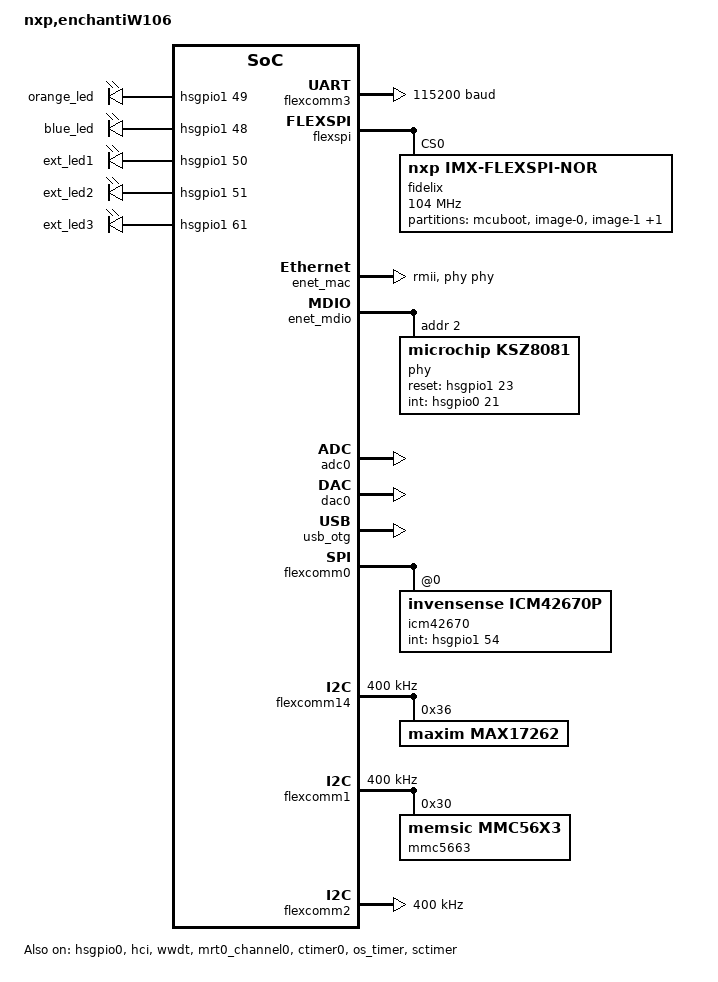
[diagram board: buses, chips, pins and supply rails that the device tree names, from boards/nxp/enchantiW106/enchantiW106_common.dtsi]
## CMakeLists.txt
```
# SPDX-License-Identifier: Apache-2.0

cmake_minimum_required(VERSION 3.20.0)

find_package(Zephyr REQUIRED HINTS $ENV{ZEPHYR_BASE})
project(simple_osc)

set(LIBDEPS_PATH "libdeps")

# Create variables for library dependents
set(LIBMAPPER_SOURCE_PATH ${LIBDEPS_PATH}/libmapper-nxp/src)
set(LIBMAPPER_INCLUDE_PATH ${LIBDEPS_PATH}/libmapper-nxp/src)

# Target repositories in libdeps sources
FILE(GLOB liblo_sources 
    ${LIBMAPPER_SOURCE_PATH}/lo/*.c
    ${LIBMAPPER_SOURCE_PATH}/compat/*.c
    ${LIBMAPPER_SOURCE_PATH}/zlib/*.c
)

# Target app sources
FILE(GLOB app_sources src/*.c*)

target_sources(app PRIVATE 
    ${liblo_sources}
    ${app_sources}
)

# add_executable(crc32 crc32.c)
target_include_directories(app PRIVATE ${LIBMAPPER_INCLUDE_PATH})
```

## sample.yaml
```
common:
  harness: net
  tags:
    - net
    - wifi
sample:
  description: Test OSC driver
  name: OSC sample app
tests:
  sample.net.wifi.nxp_wifi:
    extra_args:
      - CONFIG_NXP_WIFI_BUILD_ONLY_MODE=y
    platform_allow:
      - frdm_rw612
      - rd_rw612_bga
```

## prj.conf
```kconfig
# Project specific conf
CONFIG_CPP=y
CONFIG_GLIBCXX_LIBCPP=y
CONFIG_STD_CPP20=y
CONFIG_CPP_EXCEPTIONS=y
CONFIG_GPIO=y

# Taken from wifi shell example
CONFIG_EARLY_CONSOLE=y
CONFIG_NETWORKING=y
CONFIG_ENTROPY_DEVICE_RANDOM_GENERATOR=y
CONFIG_POSIX_API=y
CONFIG_THREAD_RUNTIME_STATS=y
CONFIG_THREAD_RUNTIME_STATS_USE_TIMING_FUNCTIONS=y
CONFIG_WIFI_NM_WPA_CTRL_RESP_TIMEOUT_S=5000

CONFIG_MAIN_STACK_SIZE=5200
CONFIG_SHELL_STACK_SIZE=5200
CONFIG_NET_TX_STACK_SIZE=2048
CONFIG_NET_RX_STACK_SIZE=2048

CONFIG_NET_PKT_RX_COUNT=10
CONFIG_NET_PKT_TX_COUNT=10
CONFIG_NET_BUF_RX_COUNT=20
CONFIG_NET_BUF_TX_COUNT=20
CONFIG_NET_MAX_CONTEXTS=10
CONFIG_NET_DHCPV4=y

CONFIG_NET_IPV4=y
CONFIG_NET_IPV6=n
CONFIG_NET_CONNECTION_MANAGER=y
CONFIG_NET_TCP=y

CONFIG_NET_LOG=y
CONFIG_INIT_STACKS=y

CONFIG_NET_SHELL=y

CONFIG_NET_STATISTICS=y
CONFIG_NET_PKT_TXTIME_STATS=y
CONFIG_NET_STATISTICS_PERIODIC_OUTPUT=n

CONFIG_WIFI=y
CONFIG_WIFI_LOG_LEVEL_ERR=y
CONFIG_NET_L2_WIFI_SHELL=y
# printing of scan results puts pressure on queues in new locking
# design in net_mgmt. So, use a higher timeout for a crowded
# environment.
CONFIG_NET_MGMT_EVENT_QUEUE_TIMEOUT=5000
CONFIG_NET_MGMT_EVENT_QUEUE_SIZE=16
```

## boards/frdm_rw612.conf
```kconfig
CONFIG_WIFI_NXP=y
CONFIG_NXP_RW610=y
CONFIG_NXP_WIFI_SHELL=y

#
# C Library
#
CONFIG_REQUIRES_FULL_LIBC=y
CONFIG_CBPRINTF_FP_SUPPORT=y

# # Setup timer with 1us resolution
# CONFIG_SYS_CLOCK_TICKS_PER_SEC=1000000

# log
CONFIG_WIFI_LOG_LEVEL_DBG=y
CONFIG_THREAD_LOCAL_STORAGE=y
CONFIG_ASSERT=y
CONFIG_ASSERT_LEVEL=2
CONFIG_LOG_MODE_IMMEDIATE=y
CONFIG_LOG_PRINTK=n

# os
CONFIG_THREAD_CUSTOM_DATA=y
CONFIG_EVENTS=y
CONFIG_SYS_HEAP_AUTO=y
CONFIG_HEAP_MEM_POOL_SIZE=122880
CONFIG_SCHED_MULTIQ=y
CONFIG_ZVFS_OPEN_MAX=30

# shell
CONFIG_SHELL_ARGC_MAX=48
CONFIG_WIFI_SHELL_MAX_AP_STA=8
CONFIG_WIFI_MGMT_AP_MAX_NUM_STA=8
CONFIG_SHELL_CMD_BUFF_SIZE=512

# net
CONFIG_NET_L2_ETHERNET=y
CONFIG_NET_DHCPV4_SERVER_ADDR_COUNT=32
CONFIG_NET_IPV4=y
CONFIG_NET_IPV6=y
CONFIG_ETH_MCUX=n
CONFIG_NET_ZPERF=y
CONFIG_NET_ZPERF_MAX_PACKET_SIZE=1500
CONFIG_NET_BUF_LOG=y
CONFIG_NET_PKT_RX_COUNT=60
CONFIG_NET_PKT_TX_COUNT=40
CONFIG_NET_BUF_RX_COUNT=60
CONFIG_NET_BUF_TX_COUNT=80
CONFIG_NET_BUF_DATA_SIZE=1744
CONFIG_NET_TC_TX_COUNT=1
CONFIG_NET_TC_RX_COUNT=1
CONFIG_NET_MGMT_EVENT_QUEUE_SIZE=20
CONFIG_NET_IF_MAX_IPV4_COUNT=2
CONFIG_NET_IF_MAX_IPV6_COUNT=2
CONFIG_DNS_RESOLVER=y
CONFIG_DNS_RESOLVER_MAX_SERVERS=2
CONFIG_NET_SOCKETS_POLL_MAX=14
CONFIG_NET_ZPERF_MAX_SESSIONS=6
CONFIG_NET_IPV4_FRAGMENT=y
CONFIG_NET_IPV4_FRAGMENT_MAX_COUNT=3
CONFIG_NET_IPV4_FRAGMENT_MAX_PKT=7
CONFIG_NET_IPV4_FRAGMENT_TIMEOUT=3
CONFIG_NET_IPV6_FRAGMENT=y
CONFIG_NET_IPV6_FRAGMENT_MAX_COUNT=3
CONFIG_NET_IPV6_FRAGMENT_MAX_PKT=8
CONFIG_NET_IPV6_FRAGMENT_TIMEOUT=3
CONFIG_NET_MAX_CONN=10
CONFIG_NET_DHCPV4_SERVER_ICMP_PROBE_TIMEOUT=100
CONFIG_ETH_DRIVER=n

# net threads priority
CONFIG_NET_TC_THREAD_PRIO_CUSTOM=y
CONFIG_NET_TC_THREAD_PREEMPTIVE=y
CONFIG_NET_TCP_WORKER_PRIO=-16
CONFIG_NET_TC_TX_THREAD_BASE_PRIO=3
CONFIG_NET_TC_RX_THREAD_BASE_PRIO=3
CONFIG_ZPERF_WORK_Q_THREAD_PRIORITY=3
CONFIG_NET_SOCKETS_SERVICE_THREAD_PRIO=3
CONFIG_NET_TC_SKIP_FOR_HIGH_PRIO=y
CONFIG_NET_CONTEXT_PRIORITY=y
CONFIG_NET_MGMT_THREAD_PRIO_CUSTOM=y
CONFIG_NET_MGMT_THREAD_PRIORITY=3

# power management
CONFIG_PM=y
CONFIG_PM_DEVICE=y
CONFIG_PM_LOG_LEVEL_OFF=y
CONFIG_PM_DEVICE_LOG_LEVEL_OFF=y
CONFIG_IDLE_STACK_SIZE=1024

# stack size
CONFIG_SHELL_STACK_SIZE=6144
CONFIG_SYSTEM_WORKQUEUE_STACK_SIZE=2048
CONFIG_NET_MGMT_EVENT_STACK_SIZE=4608
CONFIG_NET_TCP_WORKQ_STACK_SIZE=2048
CONFIG_MAIN_STACK_SIZE=12288
CONFIG_NET_SOCKETS_SERVICE_STACK_SIZE=4096

# optimization level
# refer to Kconfig.zephyr for Optimizations Level
CONFIG_SPEED_OPTIMIZATIONS=y
#CONFIG_SIZE_OPTIMIZATIONS=y
#CONFIG_DEBUG_OPTIMIZATIONS=y
#CONFIG_NO_OPTIMIZATIONS=y

# debug & stats
CONFIG_SYS_HEAP_VALIDATE=y
CONFIG_SYS_HEAP_RUNTIME_STATS=y
#CONFIG_NET_PKT_TXTIME_STATS=y
#CONFIG_NET_PKT_TXTIME_STATS_DETAIL=y
CONFIG_NET_STATISTICS_WIFI=y
CONFIG_NET_STATISTICS_USER_API=y
#CONFIG_NET_STATISTICS_PERIODIC_OUTPUT=y
#CONFIG_NET_BUF_POOL_USAGE=y
#CONFIG_NET_DEBUG_NET_PKT_ALLOC=y

# stack size for -O0
#CONFIG_SHELL_STACK_SIZE=8192
#CONFIG_NET_TCP_WORKQ_STACK_SIZE=4096
#CONFIG_NET_TX_STACK_SIZE=4096
#CONFIG_NET_RX_STACK_SIZE=4096
#CONFIG_SYSTEM_WORKQUEUE_STACK_SIZE=4096
#CONFIG_ZPERF_WORK_Q_STACK_SIZE=4096
#CONFIG_MAIN_STACK_SIZE=4096
#CONFIG_IDLE_STACK_SIZE=2048

# comment out for -O0
CONFIG_CODE_DATA_RELOCATION_SRAM=y
```

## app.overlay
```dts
/*
 * Copyright (c) 2025 Albert Niyonsenga
 *
 * SPDX-License-Identifier: Apache-2.0
 */

&enet_mac {
    nxp,unique-mac;
};
```

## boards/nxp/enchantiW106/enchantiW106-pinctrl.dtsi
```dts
/*
 * Copyright 2022-2024 NXP
 *
 * SPDX-License-Identifier: Apache-2.0
 */

#include <nxp/rw/RW612-pinctrl.h>

&pinctrl {
	pinmux_flexcomm3_usart: pinmux_flexcomm3_usart {
		group0 {
			pinmux = <IO_MUX_FC3_USART_DATA>;
			slew-rate = "normal";
		};
	};

	pinmux_enet: pinmux_enet {
		group0 {
			pinmux = <IO_MUX_ENET_CLK
				IO_MUX_ENET_RX
				IO_MUX_ENET_TX
				IO_MUX_GPIO21
				IO_MUX_GPIO55>;
			slew-rate = "fast";
		};
	};

	pinmux_mdio: pinmux_mdio {
		group0 {
			pinmux = <IO_MUX_ENET_MDIO>;
			slew-rate = "fast";
		};
	};

	pinmux_flexcomm1_i2c: pinmux_flexcomm1_i2c {
		group0 {
			pinmux = <IO_MUX_FC1_I2C_8_9>;
			slew-rate = "normal";
			bias-pull-up;
		};
	};

	pinmux_flexcomm2_i2c: pinmux_flexcomm2_i2c {
		group0 {
			pinmux = <IO_MUX_FC2_I2C_16_17>;
			slew-rate = "normal";
			bias-pull-up;
		};
	};

	pinmux_flexcomm14_i2c: pinmux_flexcomm14_i2c {
		group0 {
			pinmux = <IO_MUX_FC14_I2C_56_57>;
			slew-rate = "normal";
			bias-pull-up;
		};
	};

	pinmux_flexcomm0_spi: pinmux_flexcomm0_spi {
		group0 {
			pinmux = <IO_MUX_FC0_SPI_SS0>;
			slew-rate = "ultra";
		};
	};

	pinmux_pwm0: pinmux_pwm0 {
		group0 {
			pinmux = <IO_MUX_SCT_OUT_0>;
			slew-rate = "normal";
		};
	};
};
```

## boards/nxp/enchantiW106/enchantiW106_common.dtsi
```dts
/*
 * Copyright 2024 NXP
 *
 * SPDX-License-Identifier: Apache-2.0
 */

#include "enchantiW106-pinctrl.dtsi"

/ {
	model = "nxp,enchantiW106";

	aliases {
		led0 = &orange_led;
		led1 = &blue_led;
		watchdog0 = &wwdt;
		usart-0 = &flexcomm3;
		i2c1 = &arduino_i2c1;
		i2c2 = &arduino_i2c2;
		i2c3 = &arduino_i2c3;
		spi1 = &arduino_spi;
		pwm-0 = &sctimer;
	};

	chosen {
		zephyr,sram = &sram_data;
		zephyr,flash = &fidelix;
		zephyr,console = &flexcomm3;
		zephyr,shell-uart = &flexcomm3;
	};

	leds {
		compatible = "gpio-leds";
		orange_led: led_1 {
			gpios = <&hsgpio1 49 0>;
		};
		blue_led: led_2 {
			gpios = <&hsgpio1 48 0>;
		};
		ext_led1: led_3 {
			gpios = <&hsgpio1 50 0>;
		};
		ext_led2: led_4 {
			gpios = <&hsgpio1 51 0>;
		};
		ext_led3: led_5 {
			gpios = <&hsgpio1 61 0>;
		};
	};
};

&flexcomm3 {
	compatible = "nxp,lpc-usart";
	status = "okay";
	current-speed = <115200>;
	pinctrl-0 = <&pinmux_flexcomm3_usart>;
	pinctrl-names = "default";
};

&hsgpio0 {
	status = "okay";
};

&flexspi {
	status = "okay";
	ahb-bufferable;
	ahb-prefetch;
	ahb-cacheable;
	ahb-read-addr-opt;
	ahb-boundary = "1024";
	rx-clock-source = <1>;
	rx-clock-source-b = <1>;
	/* fidelix external flash */
	fidelix: fidelix@0 {
		compatible = "nxp,imx-flexspi-nor";
		reg = <0>;
		size = <DT_SIZE_M(64 * 8)>;
		status = "okay";
		erase-block-size = <4096>;
		write-block-size = <1>;
		spi-max-frequency = <104000000>;

		partitions {
			compatible = "fixed-partitions";
			#address-cells = <1>;
			#size-cells = <1>;

			boot_partition: partition@0 {
				label = "mcuboot";
				reg = <0x00000000 DT_SIZE_K(128)>;
			};
			/* The MCUBoot swap-move algorithm uses the last 2 sectors
			 * of the primary slot0 for swap status and move.
			 */
			slot0_partition: partition@20000 {
				label = "image-0";
				reg = <0x00020000 (DT_SIZE_M(3) + DT_SIZE_K(2 * 4))>;
			};
			slot1_partition: partition@323000 {
				label = "image-1";
				reg = <0x00323000 DT_SIZE_M(3)>;
			};
			storage_partition: partition@623000 {
				label = "storage";
				reg = <0x00623000 (DT_SIZE_M(58) - DT_SIZE_K(136))>;
			};
		};
	};
	aps6404l: aps6404l@2 {
			compatible = "nxp,imx-flexspi-aps6404l";
			/* APS6404L is 8MB, 64MBit pSRAM */
			size = <DT_SIZE_M(8 * 8)>;
			reg = <2>;
			spi-max-frequency = <109000000>;
			/* PSRAM cannot be enabled while board is in default XIP
			 * configuration, as it will conflict with flash chip.
			 */
			status = "disabled";
			cs-interval-unit = <1>;
			cs-interval = <2>;
			cs-hold-time = <3>;
			cs-setup-time = <3>;
			data-valid-time = <6>;
			column-space = <0>;
			ahb-write-wait-unit = <2>;
			ahb-write-wait-interval = <0>;
	};
};

&hci {
	status = "okay";
	wakeup-source;
};

&enet_mac {
	status = "okay";
	pinctrl-0 = <&pinmux_enet>;
	pinctrl-names = "default";
	phy-handle = <&phy>;
	zephyr,random-mac-address;
	phy-connection-type = "rmii";
};

&enet_mdio {
	status = "okay";
	pinctrl-0 = <&pinmux_mdio>;
	pinctrl-names = "default";
	phy: phy@2 {
		compatible = "microchip,ksz8081";
		reg = <2>;
		status = "okay";
		reset-gpios = <&hsgpio1 23 GPIO_ACTIVE_HIGH>;
		int-gpios = <&hsgpio0 21 GPIO_ACTIVE_HIGH>;
		microchip,interface-type = "rmii";
	};
};

&wwdt {
	status = "okay";
};

&dma0 {
	status = "okay";
};

&mrt0_channel0 {
	status = "okay";
};

&ctimer0 {
	status = "okay";
};

&pmu {
	reset-causes-en = <PMU_RESET_CM33_LOCKUP>,
			  <PMU_RESET_ITRC>,
			  <PMU_RESET_AP_RESET>;
};

/* OS Timer is the wakeup source for PM mode 2 */
&os_timer {
	status = "okay";
	wakeup-source;
};

&systick {
	status = "disabled";
};

&adc0 {
	status = "okay";
};

&dac0 {
	status = "okay";
};

&sctimer {
	status = "okay";
	pinctrl-0 = <&pinmux_pwm0>;
	pinctrl-names = "default";
};

zephyr_udc0: &usb_otg {
	status = "okay";
};

/*
 * Add IMU, magnetometer to targets for I2C/SPI interface
 */
arduino_spi: &flexcomm0 {
	compatible = "nxp,lpc-spi";
	pinctrl-0 = <&pinmux_flexcomm0_spi>;
	pinctrl-names = "default";
	status = "okay";
	#address-cells = <1>;
	#size-cells = <0>;

	icm42670@0 {
		compatible = "invensense,icm42670p";
		int-gpios = <&hsgpio1 54 GPIO_ACTIVE_HIGH>;
		accel-hz = <1600>;
		gyro-hz = <1600>;
		accel-fs = <8>;
		gyro-fs = <2000>;
	};
};

arduino_i2c1: &flexcomm14 {
	compatible = "nxp,lpc-i2c";
	status = "okay";
	clock-frequency = <I2C_BITRATE_FAST>;
	#address-cells = <1>;
	#size-cells = <0>;
	pinctrl-0 = <&pinmux_flexcomm14_i2c>;
	pinctrl-names = "default";

	max17262@36 {
		compatible = "maxim,max17262";
		reg = <0x36>;
		design-voltage = <4200>;
		desired-voltage = <4200>;
		desired-charging-current = <1100>;
		design-cap = <2000>;
		empty-voltage = <3000>;
		recovery-voltage = <3880>;
		charge-voltage = <4150>;
		status = "okay";
	};
};

arduino_i2c2: &flexcomm1 {
	compatible = "nxp,lpc-i2c";
	status = "okay";
	clock-frequency = <I2C_BITRATE_FAST>;
	#address-cells = <1>;
	#size-cells = <0>;
	pinctrl-0 = <&pinmux_flexcomm1_i2c>;
	pinctrl-names = "default";

	mmc5663@30 {
		compatible = "memsic,mmc56x3";
		reg = <0x30>;
		magn_odr = <250>;
		auto_sr = "true";
		status = "okay";
	};
};

arduino_i2c3: &flexcomm2 {
	compatible = "nxp,lpc-i2c";
	status = "okay";
	clock-frequency = <I2C_BITRATE_FAST>;
	#address-cells = <1>;
	#size-cells = <0>;
	pinctrl-0 = <&pinmux_flexcomm2_i2c>;
	pinctrl-names = "default";
};
```

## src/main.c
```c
/*
 * Copyright (c) 2023, Meta
 *
 * SPDX-License-Identifier: Apache-2.0
 */

/*
 * Copyright (c) 2024 Muhammad Haziq
 *
 * SPDX-License-Identifier: Apache-2.0
 */


#include <stdio.h>
#include <zephyr/kernel.h>
#include <zephyr/drivers/gpio.h>
#include <zephyr/net/net_if.h>
#include <zephyr/net/wifi_mgmt.h>
#include <zephyr/net/net_event.h>
#include <errno.h>

#include "ssid_config.h"
// #include <charconv>
#include <lo/lo.h>
#include <lo/lo_lowlevel.h>
#include <lo/lo_types.h>


static K_SEM_DEFINE(wifi_connected, 0, 1);
static K_SEM_DEFINE(ipv4_address_obtained, 0, 1);

static struct net_mgmt_event_callback wifi_cb;
static struct net_mgmt_event_callback ipv4_cb;

static void handle_wifi_connect_result(struct net_mgmt_event_callback *cb)
{
    const struct wifi_status *status = (const struct wifi_status *)cb->info;

    if (status->status)
    {
        printk("Connection request failed (%d)\n", status->status);
    }
    else
    {
        printk("Connected\n");
        k_sem_give(&wifi_connected);
    }
}

static void handle_wifi_disconnect_result(struct net_mgmt_event_callback *cb)
{
    const struct wifi_status *status = (const struct wifi_status *)cb->info;

    if (status->status)
    {
        printk("Disconnection request (%d)\n", status->status);
    }
    else
    {
        printk("Disconnected\n");
        k_sem_take(&wifi_connected, K_NO_WAIT);
    }
}

static void handle_ipv4_result(struct net_if *iface)
{
    int i = 0;

    for (i = 0; i < NET_IF_MAX_IPV4_ADDR; i++) {

        char buf[NET_IPV4_ADDR_LEN];

        if (iface->config.ip.ipv4->unicast[i].ipv4.addr_type != NET_ADDR_DHCP) {
            continue;
        }

        printk("IPv4 address: %s\n",
                net_addr_ntop(AF_INET,
                                &iface->config.ip.ipv4->unicast[i].ipv4.address.in_addr,
                                buf, sizeof(buf)));
        printk("Subnet: %s\n",
                net_addr_ntop(AF_INET,
                                &iface->config.ip.ipv4->unicast[i].netmask,
                                buf, sizeof(buf)));
        printk("Router: %s\n",
                net_addr_ntop(AF_INET,
                                &iface->config.ip.ipv4->gw,
                                buf, sizeof(buf)));
        }

        k_sem_give(&ipv4_address_obtained);
}

static void wifi_mgmt_event_handler(struct net_mgmt_event_callback *cb, uint32_t mgmt_event, struct net_if *iface)
{
    switch (mgmt_event)
    {

        case NET_EVENT_WIFI_CONNECT_RESULT:
            handle_wifi_connect_result(cb);
            break;

        case NET_EVENT_WIFI_DISCONNECT_RESULT:
            handle_wifi_disconnect_result(cb);
            break;

        case NET_EVENT_IPV4_ADDR_ADD:
            handle_ipv4_result(iface);
            break;

        default:
            break;
    }
}

void wifi_connect(void)
{
    struct net_if *iface = net_if_get_default();

    struct wifi_connect_req_params wifi_params = {0};

	// Save ssid and password
	wifi_params.ssid = (const uint8_t*)WIFI_SSID;
	wifi_params.psk = (const uint8_t*)WIFI_PSK;
    wifi_params.ssid_length = strlen(WIFI_SSID);
    wifi_params.psk_length = strlen(WIFI_PSK);
    wifi_params.channel = WIFI_CHANNEL_ANY;
    wifi_params.security = WIFI_SECURITY_TYPE_PSK;
    wifi_params.band = WIFI_FREQ_BAND_UNKNOWN; 
    wifi_params.mfp = WIFI_MFP_OPTIONAL;

    printk("Connecting to SSID: %s\n", wifi_params.ssid);

    if (net_mgmt(NET_REQUEST_WIFI_CONNECT, iface, &wifi_params, sizeof(struct wifi_connect_req_params)))
    {
        printk("WiFi Connection Request Failed\n");
    }
}

void wifi_status(void)
{
    struct net_if *iface = net_if_get_default();
    
    struct wifi_iface_status status = {0};

    if (net_mgmt(NET_REQUEST_WIFI_IFACE_STATUS, iface, &status,	sizeof(struct wifi_iface_status)))
    {
        printk("WiFi Status Request Failed\n");
    }

    printk("\n");

    if (status.state >= WIFI_STATE_ASSOCIATED) {
        printk("SSID: %-32s\n", status.ssid);
        printk("Band: %s\n", wifi_band_txt(status.band));
        printk("Channel: %d\n", status.channel);
        printk("Security: %s\n", wifi_security_txt(status.security));
        printk("RSSI: %d\n", status.rssi);
    }
}

void wifi_disconnect(void)
{
    struct net_if *iface = net_if_get_default();

    if (net_mgmt(NET_REQUEST_WIFI_DISCONNECT, iface, NULL, 0))
    {
        printk("WiFi Disconnection Request Failed\n");
    }
}

// OSC Helpers
void error(int num, const char *msg, const char *path);
int generic_handler(const char *path, const char *types, lo_arg ** argv,
                    int argc, lo_message data, void *user_data);
void osc_bundle_add_int(lo_bundle puara_bundle,const char *path, int value);
void osc_bundle_add_float(lo_bundle puara_bundle,const char *path, float value);
void osc_bundle_add_int_array(lo_bundle puara_bundle,const char *path, int size, int *value);
void osc_bundle_add_float_array(lo_bundle puara_bundle,const char *path, int size,  float *value);
void updateOSC(lo_address osc_addr, int counter, int looptime);
void updateOSC_bundle(lo_bundle bundle, int counter, int looptime);

void error(int num, const char *msg, const char *path) {
    printf("Liblo server error %d in path %s: %s\n", num, path, msg);
    fflush(stdout);
}

int generic_handler(const char *path, const char *types, lo_arg ** argv,
                    int argc, lo_message data, void *user_data) {
    for (int i = 0; i < argc; i++) {
        printf("arg %d '%c' ", i, types[i]);
        lo_arg_pp((lo_type)types[i], argv[i]);
        printf("\n");
    }
    printf("\n");
    fflush(stdout);

    return 1;
}

void osc_bundle_add_int(lo_bundle puara_bundle,const char *path, int value) {
    int ret = 0;
    lo_message tmp_osc = lo_message_new();
    ret = lo_message_add_int32(tmp_osc, value);
    if (ret < 0) {
        lo_message_free(tmp_osc);
        return;
    }
    ret = lo_bundle_add_message(puara_bundle, path, tmp_osc);
}
void osc_bundle_add_float(lo_bundle puara_bundle,const char *path, float value) {
    int ret = 0;
    lo_message tmp_osc = lo_message_new();
    ret = lo_message_add_float(tmp_osc, value);
    if (ret < 0) {
        lo_message_free(tmp_osc);
        return;
    }
    ret = lo_bundle_add_message(puara_bundle, path, tmp_osc);
}
void osc_bundle_add_int_array(lo_bundle puara_bundle,const char *path, int size, int *value) {
    lo_message tmp_osc = lo_message_new();
    for (int i = 0; i < size; i++) {
        lo_message_add_int32(tmp_osc, value[i]);
    }
    lo_bundle_add_message(puara_bundle, path, tmp_osc);
}

void osc_bundle_add_float_array(lo_bundle puara_bundle,const char *path, int size,  float *value) {
    lo_message tmp_osc = lo_message_new();
    for (int i = 0; i < size; i++) {
        lo_message_add_float(tmp_osc, value[i]);
    }
    lo_bundle_add_message(puara_bundle, path, tmp_osc);
}

void updateOSC(lo_address osc_addr, int counter, int looptime) {
    // Create a bundle and send it to both IP addresses
    lo_bundle bundle = lo_bundle_new(LO_TT_IMMEDIATE);
    if (!bundle) {
        return;
    }
    updateOSC_bundle(bundle, counter, looptime);
    lo_send_bundle(osc_addr, bundle);

    // free memory from bundle
    lo_bundle_free_recursive(bundle);
}

void updateOSC_bundle(lo_bundle bundle, int counter, int looptime) {
    // Add counter
    osc_bundle_add_int(bundle, "test/counter", counter);
    osc_bundle_add_int(bundle, "test/looptime", looptime);
}

/* Variables */
lo_address osc1;
lo_address osc2;
lo_server_thread osc_server;
int counter = 0;
int looptime = 0;
int last_time = 0;
bool wifi_on = false;

/* 1000 msec = 1 sec */
#define SLEEP_TIME_MS   1000

/* The devicetree node identifier for the "led0" alias. */
#define LED0_NODE DT_ALIAS(led0)

/*
 * A build error on this line means your board is unsupported.
 * See the sample documentation for information on how to fix this.
 */
static const struct gpio_dt_spec led = GPIO_DT_SPEC_GET(LED0_NODE, gpios);

/********* MAIN **********/
int main(void)
{
    int ret;
	bool led_state = true;
     printk("Starting OSC Example\n");

    if (!gpio_is_ready_dt(&led)) {
        printk("FAILED LED SETUP\n");
		return 0;
	}

	ret = gpio_pin_configure_dt(&led, GPIO_OUTPUT_ACTIVE);
	if (ret < 0) {
        printk("FAILED LED CONFIGURATION\n");
		return 0;
	}
    printk("Configured LED\n");

    printk("WiFi Example\nBoard: %s\n", CONFIG_BOARD);

    net_mgmt_init_event_callback(&wifi_cb, wifi_mgmt_event_handler,
                                 NET_EVENT_WIFI_CONNECT_RESULT | NET_EVENT_WIFI_DISCONNECT_RESULT);

    net_mgmt_init_event_callback(&ipv4_cb, wifi_mgmt_event_handler, NET_EVENT_IPV4_ADDR_ADD);

    net_mgmt_add_event_callback(&wifi_cb);
    net_mgmt_add_event_callback(&ipv4_cb);

    wifi_connect();
    k_sem_take(&wifi_connected, K_FOREVER);
    wifi_status();
    k_sem_take(&ipv4_address_obtained, K_FOREVER);
    printk("Ready...\n\n");
	wifi_on = true;

	printk("Initialising OSC-IP1  ... \n");
	osc1 = lo_address_new("192.168.86.230", "8000");
	printk("Configured OSC\n");

	// // Loop indefinitely
    while(1) {
		// Only send if network was properly configured
		updateOSC(osc1, counter, looptime);
		counter++;
		looptime = k_uptime_get_32() - looptime;

        if ((k_uptime_get_32() - last_time) > SLEEP_TIME_MS) {
            ret = gpio_pin_toggle_dt(&led);
            led_state = !led_state;
            printf("LED state: %s\n", led_state ? "ON" : "OFF");
            last_time = k_uptime_get_32();
        }
    }

    return 0;
}
```

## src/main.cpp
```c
/*
 * Copyright (c) 2023, Meta
 *
 * SPDX-License-Identifier: Apache-2.0
 */

/*
 * Copyright (c) 2024 Muhammad Haziq
 *
 * SPDX-License-Identifier: Apache-2.0
 */


#include <stdio.h>
#include <zephyr/kernel.h>
#include <zephyr/net/net_if.h>
#include <zephyr/drivers/gpio.h>
#include <zephyr/shell/shell.h>
#include <zephyr/shell/shell_uart.h>
#include <errno.h>
// Liblo headers for OSC
#include <charconv>
#include <string>
#include "osc.hpp"
#include <lo/lo.h>
#include <lo/lo_lowlevel.h>
#include <lo/lo_types.h>
#include <chrono>
#include <iostream>
#include <zephyr/random/random.h>
// Logger
LOG_MODULE_REGISTER(MAIN);

/* 1000 msec = 1 sec */
#define SLEEP_TIME_MS   1000
#define LOG_RATE_MS     5000
#define BOOT_UP_DELAY_MS 500
#define OSC_RATE_TICKS 100
#define USEC_PER_TICK (1000000 / CONFIG_SYS_CLOCK_TICKS_PER_SEC)
#define SEC_PER_TICK float(USEC_PER_TICK) / 1000000.0f
#define USEC_PER_CYCLE (1000000 / CONFIG_SYS_CLOCK_HW_CYCLES_PER_SEC)
#define OSC_SLEEP_TICKS K_USEC(OSC_RATE_TICKS)
// /* The devicetree node identifier for the "led0" alias. */
#define LED0_NODE DT_ALIAS(led0)

/* STA/AP Mode Configuration */
// Define custom password in ssid_config.h
#if __has_include("ssid_config.h")
# include "ssid_config.h"
#else
    /* STA Mode Configuration */
    #define WIFI_SSID "tstick-network"
    #define WIFI_PSK  "mappings"
    /* AP Mode Configuration */
    #define WIFI_AP_SSID       "TSTick_530"
    #define WIFI_AP_PSK        "mappings"
#endif

#define WIFI_AP_IP_ADDRESS CONFIG_NXP_WIFI_SOFTAP_IP_GATEWAY
#define WIFI_AP_NETMASK    CONFIG_NXP_WIFI_SOFTAP_IP_MASK

// Networking settings
#include <zephyr/net/net_if.h>
#include <zephyr/net/net_event.h>
#include <zephyr/net/wifi_mgmt.h>
#include <zephyr/net/dhcpv4_server.h>

// Network interfaces
static struct net_if *sta_iface;
static struct net_if *ap_iface;

// Parameters
static struct wifi_connect_req_params sta_config;
static struct wifi_connect_req_params ap_config;
static struct net_mgmt_event_callback cb;

// Wifi status
bool wifi_enabled = false;
bool ap_enabled = false;

#define MACSTR "%02X:%02X:%02X:%02X:%02X:%02X"

#define NET_EVENT_WIFI_MASK                                                                        \
	(NET_EVENT_WIFI_CONNECT_RESULT | NET_EVENT_WIFI_DISCONNECT_RESULT |                        \
	 NET_EVENT_WIFI_AP_ENABLE_RESULT | NET_EVENT_WIFI_AP_DISABLE_RESULT |                      \
	 NET_EVENT_WIFI_AP_STA_CONNECTED | NET_EVENT_WIFI_AP_STA_DISCONNECTED)


// Functions declarations
static int disable_power_saving();
static int connect_to_wifi(void);
static void wifi_event_handler(struct net_mgmt_event_callback *cb, uint32_t mgmt_event,
			       struct net_if *iface);


// Function definitions

#include <zephyr/net/conn_mgr_connectivity.h>

#if defined(CONFIG_NET_CONNECTION_MANAGER)
#define L4_EVENT_MASK (NET_EVENT_L4_CONNECTED | NET_EVENT_L4_DISCONNECTED)

static struct net_mgmt_event_callback l4_cb;
static K_SEM_DEFINE(network_connected, 0, 1);

static void l4_event_handler(struct net_mgmt_event_callback *cb, uint32_t event,
			     struct net_if *iface)
{
	switch (event) {
	case NET_EVENT_L4_CONNECTED:
		LOG_INF("Network connectivity established and IP address assigned");
		k_sem_give(&network_connected);
		break;
	case NET_EVENT_L4_DISCONNECTED:
		break;
	default:
		break;
	}
}

void wait_for_network(void)
{
	net_mgmt_init_event_callback(&l4_cb, l4_event_handler, L4_EVENT_MASK);
	net_mgmt_add_event_callback(&l4_cb);

	LOG_INF("Waiting for network...");

	k_sem_take(&network_connected, K_FOREVER);
}
#endif /* CONFIG_NET_CONNECTION_MANAGER */

static int disable_power_saving() {
    struct wifi_ps_params params;

    // Setup power saving config
    params.enabled = WIFI_PS_DISABLED;
    params.type = WIFI_PS_PARAM_STATE;
    
    // Request disabling power saving
    if (net_mgmt(NET_REQUEST_WIFI_PS, sta_iface, &params, sizeof(params))) {
		LOG_INF("PS %s failed. Reason: %s\n",
			   params.enabled ? "enable" : "disable",
			   wifi_ps_get_config_err_code_str(params.fail_reason));
		return -ENOEXEC;
	}

    return 0;
}


static int connect_to_wifi(void)
{
	if (!sta_iface) {
		LOG_INF("STA: interface no initialized");
		return -EIO;
	}

	sta_config.ssid = (const uint8_t *)WIFI_SSID;
	sta_config.ssid_length = strlen(WIFI_SSID);
	sta_config.psk = (const uint8_t *)WIFI_PSK;
	sta_config.psk_length = strlen(WIFI_PSK);
	sta_config.security = WIFI_SECURITY_TYPE_PSK;
	sta_config.channel = WIFI_CHANNEL_ANY;
	sta_config.band = WIFI_FREQ_BAND_5_GHZ;
    sta_config.bandwidth = WIFI_FREQ_BANDWIDTH_20MHZ;
    sta_config.mfp = WIFI_MFP_OPTIONAL;

	LOG_INF("Connecting to SSID: %s\n", sta_config.ssid);

    // Setup command
    int ret = 0;
    // char wifi_shell_cmd[128] =  "wifi connect -s TEST_SSID -p TEST_PSK -k 1 -b 5";
    // sprintf(wifi_shell_cmd, "wifi connect -s %s -p %s -k 1 -b 5", WIFI_SSID, WIFI_PSK);
    // LOG_INF("SHELL CMD: %s", wifi_shell_cmd);
    // ret = shell_execute_cmd(shell_backend_uart_get_ptr(), wifi_shell_cmd);
    
	ret = net_mgmt(NET_REQUEST_WIFI_CONNECT, sta_iface, &sta_config,
			   sizeof(struct wifi_connect_req_params));

	if (ret) {
		LOG_ERR("Unable to Connect to (%s)", WIFI_SSID);
	}

	return ret;
}

static int enable_ap_mode(void)
{
	if (!ap_iface) {
		LOG_INF("AP: is not initialized");
		return -EIO;
	}

	LOG_INF("Turning on AP Mode");
	ap_config.ssid = (const uint8_t *)WIFI_AP_SSID;
	ap_config.ssid_length = strlen(WIFI_AP_SSID);
	ap_config.psk = (const uint8_t *)WIFI_AP_PSK;
	ap_config.psk_length = strlen(WIFI_AP_PSK);
	ap_config.channel = 11;
	ap_config.band = WIFI_FREQ_BAND_2_4_GHZ;
    ap_config.bandwidth = WIFI_FREQ_BANDWIDTH_20MHZ;

	if (strlen(WIFI_AP_PSK) == 0) {
		ap_config.security = WIFI_SECURITY_TYPE_NONE;
	} else {

		ap_config.security = WIFI_SECURITY_TYPE_PSK;
	}

	int ret = net_mgmt(NET_REQUEST_WIFI_AP_ENABLE, ap_iface, &ap_config,
			   sizeof(struct wifi_connect_req_params));
	if (ret) {
		LOG_ERR("NET_REQUEST_WIFI_AP_ENABLE failed, err: %d", ret);
	}

	return ret;
}

static void wifi_event_handler(struct net_mgmt_event_callback *cb, uint32_t mgmt_event,
			       struct net_if *iface)
{
	switch (mgmt_event) {
	case NET_EVENT_WIFI_CONNECT_RESULT: {
		LOG_INF("Connected to %s", WIFI_SSID);
        wifi_enabled = true;
		break;
	}
	case NET_EVENT_WIFI_DISCONNECT_RESULT: {
		LOG_INF("Disconnected from %s", WIFI_SSID);
        wifi_enabled = false;
		break;
	}
	case NET_EVENT_WIFI_AP_ENABLE_RESULT: {
		LOG_INF("AP Mode is enabled. Waiting for station to connect");
        ap_enabled = true;
		break;
	}
	case NET_EVENT_WIFI_AP_DISABLE_RESULT: {
		LOG_INF("AP Mode is disabled.");
        ap_enabled = false;
		break;
	}
	case NET_EVENT_WIFI_AP_STA_CONNECTED: {
		struct wifi_ap_sta_info *sta_info = (struct wifi_ap_sta_info *)cb->info;

		LOG_INF("station: " MACSTR " joined ", sta_info->mac[0], sta_info->mac[1],
			sta_info->mac[2], sta_info->mac[3], sta_info->mac[4], sta_info->mac[5]);
		break;
	}
	case NET_EVENT_WIFI_AP_STA_DISCONNECTED: {
		struct wifi_ap_sta_info *sta_info = (struct wifi_ap_sta_info *)cb->info;

		LOG_INF("station: " MACSTR " leave ", sta_info->mac[0], sta_info->mac[1],
			sta_info->mac[2], sta_info->mac[3], sta_info->mac[4], sta_info->mac[5]);
		break;
	}
	default:
		break;
	}
}

/******* Variables to Send *********/
lo_address osc1;
lo_address osc2;
oscBundle puara_bundle;
lo_server osc_server;
int secs_idx;
int bundle_size = 0;
int size_idx;
int counter = 0;
int counter_idx;
int looptime = 0;
int looptime_idx;
int mcu_offset = 0;
int last_time = 0;
int last_log_time = 0;
bool wifi_on = false;
#define TEST_SIZE 256
int test_array[TEST_SIZE];
int test_idx;

// timing variables
uint32_t start;
uint32_t end;

// OSC Namespace
std::string baseNamespace = "";
std::string oscNamespace;

// OSC Helpers
void error(int num, const char *msg, const char *path);
int generic_handler(const char *path, const char *types, lo_arg ** argv,
                    int argc, lo_message data, void *user_data);
int ping_handler(const char *path, const char *types, lo_arg ** argv,
                    int argc, lo_message data, void *user_data);
void updateOSC();
void initOSC_bundle();
void updateOSC_bundle();
void error(int num, const char *msg, const char *path) {
    printf("Liblo server error %d in path %s: %s\n", num, path, msg);
    fflush(stdout);
}

int generic_handler(const char *path, const char *types, lo_arg ** argv,
                    int argc, lo_message data, void *user_data) {
    for (int i = 0; i < argc; i++) {
        printf("arg %d '%c' ", i, types[i]);
        lo_arg_pp((lo_type)types[i], argv[i]);
        printf("\n");
    }
    printf("\n");
    fflush(stdout);

    return 1;
}

int ping_handler(const char *path, const char *types, lo_arg ** argv,
                    int argc, lo_message data, void *user_data) {
    counter = argv[0]->i + 1;
    updateOSC();
    return 1;
}

void updateOSC() {
    // Create a bundle and send it to both IP addresses
    updateOSC_bundle();

    if (wifi_enabled) {
        puara_bundle.fast_send(osc1, osc_server);
    }
}

void initOSC_bundle() {
    puara_bundle.add(&counter_idx, "test/counter",  counter);
    puara_bundle.add(&looptime_idx, "test/looptime", looptime);
    puara_bundle.add(&size_idx, "test/bundlelength", bundle_size);
    puara_bundle.add(&test_idx, "test/array", TEST_SIZE, test_array);
}

void updateOSC_bundle() {
    puara_bundle.update_message(counter_idx,  counter);
    puara_bundle.update_message(looptime_idx, looptime);
    puara_bundle.update_message(size_idx, bundle_size);
    puara_bundle.update_message(test_idx, TEST_SIZE, test_array);
}

/*
 * A build error on this line means your board is unsupported.
 * See the sample documentation for information on how to fix this.
 */
static const struct gpio_dt_spec led0 = GPIO_DT_SPEC_GET(LED0_NODE, gpios);


/***************** SHELL COMMANDS *********************/

static int cmd_osc_reply(const struct shell *sh, size_t argc,
			      char **argv, uint32_t period)
{
	ARG_UNUSED(argv);
    start = k_cycle_get_32();
	updateOSC();
    end = k_cycle_get_32();
    looptime = k_cyc_to_us_ceil32(end - start);
	return 0;
}

SHELL_STATIC_SUBCMD_SET_CREATE(sub_osc_commands,
	SHELL_CMD(ping, NULL, "Ping command.", cmd_osc_reply),
	SHELL_SUBCMD_SET_END /* Array terminated. */
);

SHELL_CMD_REGISTER(osc, &sub_osc_commands, "OSC commands", NULL);


struct sensor_timers {
    uint32_t timer = 0;
    uint32_t interval;

    sensor_timers(int period) : interval(period) {};
};
struct sensor_timers led(SLEEP_TIME_MS);
struct sensor_timers osc(9);
void changeLED();
bool led_state = false;
void changeLED() {
    // TODO: USE PWM instead of toggle
    if ((k_uptime_get_32() - led.timer) > led.interval) {
        gpio_pin_toggle_dt(&led0);
        led_state = !led_state;
        led.timer = k_uptime_get_32();
    }
}

/********* MAIN **********/
int main(void)
{
    // Configure LED
    int ret;
    if (!gpio_is_ready_dt(&led0)) {
        LOG_INF("FAILED LED SETUP\n");
        return 1;
    }

    ret = gpio_pin_configure_dt(&led0, GPIO_OUTPUT_ACTIVE);
    if (ret < 0) {
        LOG_INF("FAILED LED CONFIGURATION\n");
        return 1;
    }
    LOG_INF("Configured LED");

    // Wait for wifi network manager to be initialised
    k_msleep(5000);
    
    // Adding network call back events
    net_mgmt_init_event_callback(&cb, wifi_event_handler, NET_EVENT_WIFI_MASK);
	net_mgmt_add_event_callback(&cb);

    // Generating unique hostname
    int hostid = sys_rand32_get() % 1000;
    char device_hostname[11];
    snprintf(device_hostname, 11, "TStick_%03d", hostid);
    net_hostname_set(device_hostname, 11);

    // Wait for iface to be initialised
    sta_iface = net_if_get_wifi_sta();
    while (!sta_iface) {
        LOG_INF("STA: is not initialized");
        sta_iface = net_if_get_wifi_sta();
    }
    LOG_INF("STA: is initialized");

    // Wait for ap to be initialised
    ap_iface = net_if_get_wifi_sap();
    while (!ap_iface) {
        LOG_INF("AP: is not initialized");
        ap_iface = net_if_get_wifi_sap();
    }
    LOG_INF("AP: is initialized");

    // Disable wifi power saving mode
    disable_power_saving();

    // Connect to wifi
    connect_to_wifi();
    wait_for_network();
    k_msleep(500);
    // enable_ap_mode();

    // Initialise the OSC address
    LOG_INF("Initialising OSC-IP1  ... ");
    osc1 = lo_address_new("192.168.86.230", "8000");
    LOG_INF("Configured OSC  ...");

    // Create a server
    osc_server = lo_server_new("8000", error);
    lo_server_add_method(osc_server, NULL, NULL, generic_handler, NULL);

    // Initialise base namespace
    baseNamespace.append(device_hostname);
    puara_bundle.init(baseNamespace.c_str());
    initOSC_bundle();

    // Do a slow serialising once 
    puara_bundle.serialise();

    // Print bundle size
    LOG_INF("Bundle Size: %d", puara_bundle.data_len);
    LOG_INF("Starting Sending OSC messages");

    // Turn Led on to show it is done
    while (1) {
        changeLED();

        for (int i = 0; i < TEST_SIZE; i++) {
            test_array[i] = counter + i;
        }

        if ((k_uptime_get_32() - osc.timer) > osc.interval) {
            counter++;
            osc.timer = k_uptime_get_32();
            updateOSC();
            k_yield();
        } else {
            k_sleep(OSC_SLEEP_TICKS); // sleep for 100us to allow the interrupts and the uart driver to work 
        }
    }
    return 0;
}
```

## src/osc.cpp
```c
#include "osc.hpp"

int oscBundle::init(const char *baseName) {
    baseNamespace.append(baseName);
    baseNamespace.append("/");
    oscNamespace = baseNamespace;

    // Create bundle
    bundle = lo_bundle_new(LO_TT_IMMEDIATE);

    if (!bundle) {
        return 1; // return 1 on failure
    }

    // Return 0 on success
    return 0;
}

int oscBundle::update_message(int i, size_t size, float *data) {
    // Update specific message
    if (i >= num_messages) {
        return 1; // return 1 on failure
    }   

    // Update the message
    
    memcpy((char *)bundle->elmnts[i].content.message.msg->data, data, sizeof(float)*size);
    return 0;
}

int oscBundle::update_message(int i, size_t size, int *data) {
    // Update specific message
    if (i >= num_messages) {
        return 1; // return 1 on failure
    }   

    // Update the message
    memcpy((char *)bundle->elmnts[i].content.message.msg->data, data, sizeof(int)*size);
    return 0;
}

int oscBundle::update_message(int i, int data) {
    // Update specific message
    if (i >= num_messages) {
        return 1; // return 1 on failure
    }   

    // Update the message
    memcpy((char *)bundle->elmnts[i].content.message.msg->data, &data, sizeof(int));
    return 0;
}

int oscBundle::update_message(int i, float data) {
    // Update specific message
    if (i >= num_messages) {
        return 1; // return 1 on failure
    }   

    // Update the message
    memcpy((char *)bundle->elmnts[i].content.message.msg->data, &data, sizeof(float));
    return 0;
}

int oscBundle::update_message(int i, lo_timetag data) {
    // Update specific message
    if (i >= num_messages) {
        return 1; // return 1 on failure
    }   

    // Update the message
    msg_typelen[num_messages] = 8;
    memcpy((char *)bundle->elmnts[i].content.message.msg->data, &data, sizeof(lo_timetag));
    return 0;
}

void oscBundle::add(int *idx, const char *path, lo_message msg) {
    int ret = lo_bundle_add_message(bundle, path, msg);
    if (ret < 0) {
        return;
    }
    *idx = num_messages;
    msg_size[num_messages] = lo_strsize(path) + lo_strsize(msg->types);
    msg_length[num_messages] = lo_message_length(msg, path);
    num_messages++;
}

void oscBundle::add(int *idx, const char *path, int value) {
    oscNamespace.replace(oscNamespace.begin()+baseNamespace.size(),oscNamespace.end(), path);
    int ret = 0;
    lo_message tmp_osc = lo_message_new();
    ret = lo_message_add_int32(tmp_osc, value);
    if (ret < 0) {
        lo_message_free(tmp_osc);
        return;
    }
    // Add message to bundle
    msg_typelen[num_messages] = 4;
    add(idx, oscNamespace.c_str(), tmp_osc);
}
void oscBundle::add(int *idx, const char *path, float value) {
    oscNamespace.replace(oscNamespace.begin()+baseNamespace.size(),oscNamespace.end(), path);
    int ret = 0;
    lo_message tmp_osc = lo_message_new();
    ret = lo_message_add_float(tmp_osc, value);
    if (ret < 0) {
        lo_message_free(tmp_osc);
        return;
    }
    // Add message to bundle
    msg_typelen[num_messages] = 4;
    add(idx, oscNamespace.c_str(), tmp_osc);
}
void oscBundle::add(int *idx, const char *path, size_t size, int *value) {
    oscNamespace.replace(oscNamespace.begin()+baseNamespace.size(),oscNamespace.end(), path);
    lo_message tmp_osc = lo_message_new();
    for (size_t i = 0; i < size; i++) {
        lo_message_add_int32(tmp_osc, value[i]);
    }
    // Add message to bundle
    msg_typelen[num_messages] = 4;
    add(idx, oscNamespace.c_str(), tmp_osc);
}

void oscBundle::add(int *idx, const char *path, size_t size,  float *value) {
    oscNamespace.replace(oscNamespace.begin()+baseNamespace.size(),oscNamespace.end(), path);
    lo_message tmp_osc = lo_message_new();
    for (size_t i = 0; i < size; i++) {
        lo_message_add_float(tmp_osc, value[i]);
    }
    // Add message to bundle
    msg_typelen[num_messages] = 4;
    add(idx, oscNamespace.c_str(), tmp_osc);
}

void oscBundle::add(int *idx, const char *path, lo_timetag value) {
    oscNamespace.replace(oscNamespace.begin()+baseNamespace.size(),oscNamespace.end(), path);
    int ret = 0;
    lo_message tmp_osc = lo_message_new();
    ret = lo_message_add_timetag(tmp_osc, value);
    if (ret < 0) {
        lo_message_free(tmp_osc);
        return;
    }
    // Add message to bundle
    msg_typelen[num_messages] = 8;
    add(idx, oscNamespace.c_str(), tmp_osc);
}

void oscBundle::send(lo_address a, lo_server from) {
    // Send data
    if (serialise()) {
        // Send the bundle
        lo_send_serialised_bundle_from(a, from, char_bundle, data_len);
    }
}

void oscBundle::fast_send(lo_address a, lo_server from) {
    // Send data
    if (fast_serialise()) {
        // Send the bundle
        lo_send_serialised_bundle_from(a, from, char_bundle, data_len);
    }
}


int oscBundle::serialise() {
    if (data_len > MAX_BUNDLE_SIZE) {
        return 0;
    }

    if(!lo_bundle_serialise(bundle, &char_bundle, &data_len)) {
        // return 0 uif null pointer was returned (indicates error)
        return 0;
    }
    return 1; // if successful
}

int oscBundle::fast_serialise() {
    if (data_len > MAX_BUNDLE_SIZE) {
        return 0;
    }
    if (data_len == 0) first_time = true;
    if (!lo_bundle_serialise_fast(bundle, &char_bundle, &data_len)) {
        // returns 0 if null pointer was returned
        return 0;
    }
    if (first_time) first_time = false; // skips certain memset functions not needed for multiple serialising runs
    return 1;
}

int oscBundle::serialise_message(int idx, void *pos) {
    size_t msg_len;
    lo_message_serialise(bundle->elmnts[idx].content.message.msg, bundle->elmnts[idx].content.message.path, pos, &msg_len);
    return 1;
}

int oscBundle::lo_bundle_serialise_fast(lo_bundle b, void *to, size_t * size)
{
    size_t s, skip;
    int32_t *bes;
    size_t i;
    char *pos;
    lo_pcast32 be;

    if (!b) {
        if (size) *size = 0;
        return -LO_EINVALIDBUND;
    }

    if (data_len == 0) {
        s = lo_bundle_length(b);
        if (size) {
            *size = s;
        }
    } else {
        s = data_len;
    }

    if (!to) {
        return -LO_EINVALIDARG;
    }
    
    pos = (char*) to;
    if (first_time) {
        strcpy(pos, "#bundle");
        pos += 8;
        be.nl = lo_htoo32(b->ts.sec);
        memcpy(pos, &be, 4);
        pos += 4;
        be.nl = lo_htoo32(b->ts.frac);
        memcpy(pos, &be, 4);
        pos += 4;
    } else {
        pos += 16;
    }
    
    for (i = 0; i < b->len; i++) {
        switch (b->elmnts[i].type) {
            case LO_ELEMENT_MESSAGE:
                lo_message_serialise_fast(i, b->elmnts[i].content.message.msg, b->elmnts[i].content.message.path, pos + 4, &skip);
                break;
            case LO_ELEMENT_BUNDLE:
                lo_bundle_serialise_fast(b->elmnts[i].content.bundle, pos+4, &skip);
                break;
	    }

        bes = (int32_t *) (void *)pos;
        *bes = __builtin_bswap32(skip);
        pos += skip + 4;

        if (pos > (char*) to + s) {
            return -LO_EINVALIDBUND;
        }
    }
    if (pos != (char*) to + s) {
        return -LO_EINVALIDBUND;
    }
    return 1;
}

int oscBundle::lo_message_serialise_fast(int msg_idx, lo_message m, const char *path, void *to, size_t * size)
{
    int argc;
    char *ptr;
    size_t s = msg_length[msg_idx];

    if (size) {
        *size = s;
    }

    if (!to) {
        to = calloc(1, s);
    }

    if (first_time) {
        // Only do this once, we don't have to reformat this for future calls
        memset((char*) to + lo_strsize(path) - 4, 0, 4);   // ensure zero-padding
        strcpy((char*) to, path);
        memset((char*) to + lo_strsize(path) + lo_strsize(m->types) - 4, 0,
            4);
        strcpy((char*) to + lo_strsize(path), m->types);
    }
    ptr = (char*) to + msg_size[msg_idx];
    memcpy(ptr, m->data, m->datalen);

    argc = (int) m->typelen - 1;
    size_t len = msg_typelen[msg_idx];
    fast_reorder(len,argc, ptr);
    return 1;
}

inline void fast_reorder(size_t len, int num, void *data) {
    for (int i = 0; i < num; ++i) {
        *(int32_t *) data = __builtin_bswap32(*(int32_t *) data);
        data += len;
    }
}
```

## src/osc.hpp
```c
// C++ class for updating liblo messages and bundles
#ifndef _LIBLO_OSC_BUNDLE_H_
#define _LIBLO_OSC_BUNDLE_H_
#include <string>
#include <lo/config.h>
#include <lo/lo_types_internal.h>
#include <lo/lo.h>
#include <lo/lo_lowlevel.h>

#define MAX_BUNDLE_SIZE 2048
#define MAX_NUM_MESSAGES 52

// Helpers
inline void fast_reorder(size_t len, int num, void *data);

// Bundle
class oscBundle {
    public:
        // Liblo bundles
        lo_bundle bundle;
        char char_bundle[MAX_BUNDLE_SIZE];
        std::string str_bundle = "#bundle";
        int idx;
        size_t data_len = 0;
        bool first_time = true;

        // Store some information about messages
        size_t msg_size[MAX_NUM_MESSAGES];
        size_t msg_length[MAX_NUM_MESSAGES];
        size_t msg_typelen[MAX_NUM_MESSAGES];

        // Properties
        int num_messages = 0;
        std::string baseNamespace = "/";
        std::string oscNamespace;
    
        // Methods
        int init(const char *baseName);
        int update_message(int i, size_t size, float *data);
        int update_message(int i, size_t size, int *data);
        int update_message(int i, int data);
        int update_message(int i, float data);
        int update_message(int i, lo_timetag data);

        // Add data
        void add(int *idx,const char *path, lo_timetag value);
        void add(int *idx,const char *path, int value);
        void add(int *idx,const char *path, float value);
        void add(int *idx,const char *path, size_t size, int *value);
        void add(int *idx,const char *path, size_t size,  float *value);
        void add(int *idx,const char *path, lo_message msg);

        // Serialise Data
        int serialise();
        int fast_serialise();
        int serialise_message(int idx, void *pos);
        int lo_bundle_serialise_fast(lo_bundle b, void *to, size_t * size);
        int lo_message_serialise_fast(int msg_idx, lo_message m, const char *path, void *to, size_t * size);

        // Send data
        void send(lo_address a, lo_server from);
        void fast_send(lo_address a, lo_server from);
};

#endif
```
